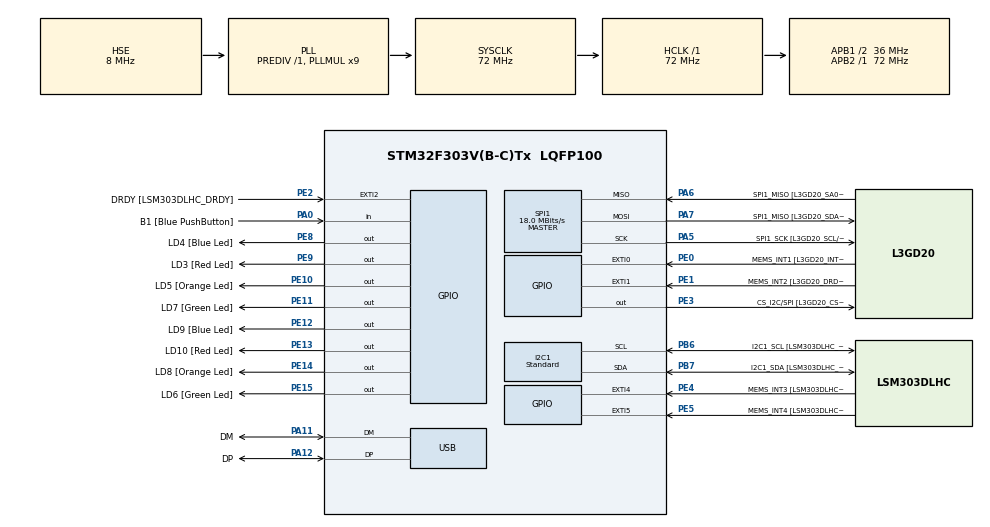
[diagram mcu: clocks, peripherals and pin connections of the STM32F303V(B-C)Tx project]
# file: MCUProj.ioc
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FREERTOS.Tasks01=defaultTask,0,128,StartDefaultTask,Default,NULL,Dynamic,NULL,NULL
I2C1.I2C_Speed_Mode=I2C_Standard
I2C1.Timing-I2C=0x2000090E
Mcu.Family=STM32F3
Mcu.Name=STM32F303V(B-C)Tx
Mcu.Package=LQFP100
NVIC.EXTI2_TSC_IRQn=true\:5\:0\:false\:false\:true\:true\:true\:true\:true
NVIC.I2C1_ER_IRQn=true\:5\:0\:false\:false\:true\:true\:true\:true\:true
NVIC.I2C1_EV_IRQn=true\:5\:0\:false\:false\:true\:true\:true\:true\:true
NVIC.PriorityGroup=NVIC_PRIORITYGROUP_4
NVIC.TIM1_TRG_COM_TIM17_IRQn=true\:15\:0\:false\:false\:true\:false\:false\:true\:true
NVIC.TIM1_UP_TIM16_IRQn=true\:5\:0\:false\:false\:true\:true\:true\:true\:true
NVIC.TimeBase=TIM1_TRG_COM_TIM17_IRQn
NVIC.TimeBaseIP=TIM17
NVIC.USB_LP_CAN_RX0_IRQn=true\:5\:0\:false\:false\:true\:true\:false\:true\:true
PA0.GPIO_Label=B1 [Blue PushButton]
PA0.Signal=GPIO_Input
PA11.GPIO_Label=DM
PA11.Mode=Device
PA11.Signal=USB_DM
PA12.GPIO_Label=DP
PA12.Mode=Device
PA12.Signal=USB_DP
PA13.GPIO_Label=SWDIO
PA13.Mode=Serial_Wire
PA13.Signal=SYS_JTMS-SWDIO
PA14.GPIO_Label=SWCLK
PA14.Mode=Serial_Wire
PA14.Signal=SYS_JTCK-SWCLK
PA5.GPIO_Label=SPI1_SCK [L3GD20_SCL/SPC]
PA5.Mode=Full_Duplex_Master
PA5.Signal=SPI1_SCK
PA6.GPIO_Label=SPI1_MISO [L3GD20_SA0/SDO]
PA6.Mode=Full_Duplex_Master
PA6.Signal=SPI1_MISO
PA7.GPIO_Label=SPI1_MISO [L3GD20_SDA/SDI/SDO]
PA7.Mode=Full_Duplex_Master
PA7.Signal=SPI1_MOSI
PB3.GPIO_Label=SWO
PB3.Signal=SYS_JTDO-TRACESWO
PB6.GPIO_Label=I2C1_SCL [LSM303DLHC_SCL]
PB6.GPIO_Pu=GPIO_PULLUP
PB6.Mode=I2C
PB6.Signal=I2C1_SCL
PB7.GPIO_Label=I2C1_SDA [LSM303DLHC_SDA]
PB7.GPIO_Pu=GPIO_PULLUP
PB7.Mode=I2C
PB7.Signal=I2C1_SDA
PC14-OSC32_IN.GPIO_Label=OSC32_IN
PC14-OSC32_IN.Signal=RCC_OSC32_IN
PC15-OSC32_OUT.GPIO_Label=OSC32_OUT
PC15-OSC32_OUT.Signal=RCC_OSC32_OUT
PE0.GPIO_Label=MEMS_INT1 [L3GD20_INT1]
PE0.GPIO_ModeDefaultEXTI=GPIO_MODE_EVT_RISING
PE0.Signal=GPXTI0
PE1.GPIO_Label=MEMS_INT2 [L3GD20_DRDY/INT2]
PE1.GPIO_ModeDefaultEXTI=GPIO_MODE_EVT_RISING
PE1.Signal=GPXTI1
PE10.GPIO_Label=LD5 [Orange Led]
PE10.Signal=GPIO_Output
PE11.GPIO_Label=LD7 [Green Led]
PE11.Signal=GPIO_Output
PE12.GPIO_Label=LD9 [Blue Led]
PE12.Signal=GPIO_Output
PE13.GPIO_Label=LD10 [Red Led]
PE13.Signal=GPIO_Output
PE14.GPIO_Label=LD8 [Orange Led]
PE14.Signal=GPIO_Output
PE15.GPIO_Label=LD6 [Green Led]
PE15.Signal=GPIO_Output
PE2.GPIO_Label=DRDY [LSM303DLHC_DRDY]
PE2.GPIO_ModeDefaultEXTI=GPIO_MODE_IT_RISING
PE2.Signal=GPXTI2
PE3.GPIO_Label=CS_I2C/SPI [L3GD20_CS_I2C/SPI]
PE3.Signal=GPIO_Output
PE4.GPIO_Label=MEMS_INT3 [LSM303DLHC_INT1]
PE4.GPIO_ModeDefaultEXTI=GPIO_MODE_EVT_RISING
PE4.Signal=GPXTI4
PE5.GPIO_Label=MEMS_INT4 [LSM303DLHC_INT2]
PE5.GPIO_ModeDefaultEXTI=GPIO_MODE_EVT_RISING
PE5.Signal=GPXTI5
PE8.GPIO_Label=LD4 [Blue Led]
PE8.Signal=GPIO_Output
PE9.GPIO_Label=LD3 [Red Led]
PE9.Signal=GPIO_Output
PF0-OSC_IN.GPIO_Label=OSC_IN
PF0-OSC_IN.Mode=HSE-External-Clock-Source
PF0-OSC_IN.Signal=RCC_OSC_IN
PF1-OSC_OUT.GPIO_Label=OSC_OUT
PF1-OSC_OUT.Signal=RCC_OSC_OUT
ProjectManager.HeapSize=0x200
ProjectManager.StackSize=0x400
ProjectManager.TargetToolchain=Makefile
RCC.AHBFreq_Value=72000000
RCC.APB1CLKDivider=RCC_HCLK_DIV2
RCC.APB1Freq_Value=36000000
RCC.APB1TimFreq_Value=72000000
RCC.APB2Freq_Value=72000000
RCC.APB2TimFreq_Value=72000000
RCC.CortexFreq_Value=72000000
RCC.HCLKFreq_Value=72000000
RCC.HSE_VALUE=8000000
RCC.HSI_VALUE=8000000
RCC.LSE_VALUE=32768
RCC.PLLMUL=RCC_PLL_MUL9
RCC.PRESCALERUSB=RCC_USBCLKSOURCE_PLL_DIV1_5
RCC.SYSCLKFreq_VALUE=72000000
RCC.SYSCLKSourceVirtual=RCC_SYSCLKSOURCE_PLLCLK
RCC.USBFreq_Value=48000000
SPI1.BaudRatePrescaler=SPI_BAUDRATEPRESCALER_4
SPI1.BaudRatePrescaler-Full_Duplex_Master=SPI_BAUDRATEPRESCALER_2
SPI1.CalculateBaudRate=18.0 MBits/s
SPI1.CalculateBaudRate-Full_Duplex_Master=24.0 MBits/s
SPI1.Direction=SPI_DIRECTION_2LINES
SPI1.Mode=SPI_MODE_MASTER
SPI1.Mode-Full_Duplex_Master=SPI_MODE_MASTER
SPI1.VirtualType=VM_MASTER
TIM16.Period=65535 - 1
TIM16.Prescaler=1000
USB_DEVICE.APP_RX_DATA_SIZE=512
USB_DEVICE.APP_TX_DATA_SIZE=512
USB_DEVICE.CLASS_NAME_FS=CDC
USB_DEVICE.VirtualMode=Cdc
USB_DEVICE.VirtualModeFS=Cdc_FS
VP_FREERTOS_VS_CMSIS_V1.Mode=CMSIS_V1
VP_SYS_VS_tim17.Mode=TIM17
VP_TIM16_VS_ClockSourceINT.Mode=Enable_Timer
VP_USB_DEVICE_VS_USB_DEVICE_CDC_FS.Mode=CDC_FS
board=STM32F3DISCOVERY

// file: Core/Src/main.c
/* USER CODE BEGIN Header */
/**
  ******************************************************************************
  * @file           : main.c
  * @brief          : Main program body
  ******************************************************************************
  * @attention
  *
  * Copyright (c) 2023 STMicroelectronics.
  * All rights reserved.
  *
  * This software is licensed under terms that can be found in the LICENSE file
  * in the root directory of this software component.
  * If no LICENSE file comes with this software, it is provided AS-IS.
  *
  ******************************************************************************
  */
/* USER CODE END Header */
#include "main.h"
#include "cmsis_os.h"
#include "usb_device.h"

/* USER CODE BEGIN Includes */
#include <stdbool.h>
#include <math.h>
#include "modbus_srv.h"
/* USER CODE END Includes */

/* USER CODE BEGIN PD */
#define CONCAT_8BIT_INTO_16BIT(high_byte, low_byte)  (((high_byte) << 8U) | low_byte)
#define MAX(a, b)                                   ((a) = (b) > (a) ? (a):(a))
#define MIN(a, b)                                   ((a) = (b) < (a) ? (b):(a))

#define MAGN_VALUE_TO_PERSENT(val) ((0xffff - (val)) / 10)
/* USER CODE END PD */

I2C_HandleTypeDef hi2c1;

SPI_HandleTypeDef hspi1;

TIM_HandleTypeDef htim16;

osThreadId defaultTaskHandle;
/* USER CODE BEGIN PV */

uint8_t buf[20];
static led_pwm_desc_t g_led_states[] =
{
  {
    .GPIOx = LD3_GPIO_Port,
    .GPIO_Pin = LD3_Pin,
    .PinState = GPIO_PIN_RESET,
    .duty_cycle_percent = 0
  },
  {
    .GPIOx = LD4_GPIO_Port,
    .GPIO_Pin = LD4_Pin,
    .PinState = GPIO_PIN_RESET,
    .duty_cycle_percent = 0
  },
  {
    .GPIOx = LD5_GPIO_Port,
    .GPIO_Pin = LD5_Pin,
    .PinState = GPIO_PIN_RESET,
    .duty_cycle_percent = 0
  },
  {
    .GPIOx = LD6_GPIO_Port,
    .GPIO_Pin = LD6_Pin,
    .PinState = GPIO_PIN_RESET,
    .duty_cycle_percent = 0
  },
  {
    .GPIOx = LD7_GPIO_Port,
    .GPIO_Pin = LD7_Pin,
    .PinState = GPIO_PIN_RESET,
    .duty_cycle_percent = 0
  },
  {
    .GPIOx = LD8_GPIO_Port,
    .GPIO_Pin = LD8_Pin,
    .PinState = GPIO_PIN_RESET,
    .duty_cycle_percent = 0
  },
  {
    .GPIOx = LD9_GPIO_Port,
    .GPIO_Pin = LD9_Pin,
    .PinState = GPIO_PIN_RESET,
    .duty_cycle_percent = 0
  },
  {
    .GPIOx = LD10_GPIO_Port,
    .GPIO_Pin = LD10_Pin,
    .PinState = GPIO_PIN_RESET,
    .duty_cycle_percent = 0
  }
};

static uint8_t g_reading_steps[] =
{
  I2C_ADDR_OUTX_L_REG_M,
  I2C_ADDR_OUTX_H_REG_M,
  I2C_ADDR_OUTY_L_REG_M,
  I2C_ADDR_OUTY_H_REG_M,
  I2C_ADDR_OUTZ_L_REG_M,
  I2C_ADDR_OUTZ_H_REG_M
};

static uint8_t g_offsets[] =
{
  I2C_ADDR_OFFSET_X_REG_L_M,
  I2C_ADDR_OFFSET_X_REG_H_M,
  I2C_ADDR_OFFSET_Y_REG_L_M,
  I2C_ADDR_OFFSET_Y_REG_H_M,
  I2C_ADDR_OFFSET_Z_REG_L_M,
  I2C_ADDR_OFFSET_Z_REG_H_M
};

/* USER CODE END PV */

void SystemClock_Config(void);
static void MX_GPIO_Init(void);
static void MX_I2C1_Init(void);
static void MX_SPI1_Init(void);
static void MX_TIM16_Init(void);
void StartDefaultTask(void const * argument);

/* USER CODE BEGIN 0 */
// bool tx_completed = false;
// bool rx_complete = false;
void HAL_I2C_MasterTxCpltCallback(I2C_HandleTypeDef *hi2c)
{
}

void HAL_I2C_MasterRxCpltCallback(I2C_HandleTypeDef *hi2c)
{
  buf[10] = 0;
}

// void HAL_TIM_PeriodElapsedCallback(TIM_HandleTypeDef *htim)
// {
//   static uint16_t current_ctr = 0;
//   static uint8_t led_idx;
//   static bool reset_state = false;

//   if (htim == &htim16)
//   {
//     reset_state = true;
//     current_ctr = 0;

//     data_ready_interrupt();

//     for (led_idx = 0; reset_state && led_idx < LED_CNT; led_idx++)
//     {
//       if (g_led_states[led_idx].duty_cycle_percent != 0U)
//       {
//         HAL_GPIO_WritePin(g_led_states[led_idx].GPIOx, g_led_states[led_idx].GPIO_Pin, GPIO_PIN_SET);
//       }
//     }

//     for (led_idx = 0; led_idx < LED_CNT; led_idx++)
//     {
//       if (g_led_states[led_idx].duty_cycle_percent == 0)
//       {
//         HAL_GPIO_WritePin(g_led_states[led_idx].GPIOx, g_led_states[led_idx].GPIO_Pin, GPIO_PIN_RESET);
//       }
//     }
//   }
// }

void mb_init(void)
{
  HAL_StatusTypeDef status;
  uint8_t value = 0;

  status = HAL_I2C_Mem_Read(&hi2c1, I2C_ADDR_READ_MAGNETOMETER, I2C_ADDR_WHOAMI, I2C_MEMADD_SIZE_8BIT, &value, 1, HAL_MAX_DELAY);

  if (status != HAL_OK || value != I2C_RESULT_WHOAMI)
  {
    Error_Handler();
  }

  HAL_Delay(100);

  value = 0x8CU;
  status = HAL_I2C_Mem_Write(&hi2c1, I2C_ADDR_READ_MAGNETOMETER,
                              0x60U, I2C_MEMADD_SIZE_8BIT,
                              &value, 1, HAL_MAX_DELAY);

  if (status != HAL_OK)
  {
    Error_Handler();
  }

  value = 0x02;
  status = HAL_I2C_Mem_Write(&hi2c1, I2C_ADDR_READ_MAGNETOMETER,
                              0x61U, I2C_MEMADD_SIZE_8BIT,
                              &value, 1, HAL_MAX_DELAY);

  if (status != HAL_OK)
  {
    Error_Handler();
  }

  value = 0x10;
  status = HAL_I2C_Mem_Write(&hi2c1, I2C_ADDR_READ_MAGNETOMETER,
                              0x62U, I2C_MEMADD_SIZE_8BIT,
                              &value, 1, HAL_MAX_DELAY);

  if (status != HAL_OK)
  {
    Error_Handler();
  }

  HAL_Delay(20);

  HAL_GPIO_WritePin(g_led_states[7].GPIOx, g_led_states[7].GPIO_Pin, GPIO_PIN_SET);

  // mb_toggle_pin(LD4_GPIO_Port, LD4_Pin, value);

  // /* IRA_REG_M */
  // HAL_I2C_Mem_Read(&hi2c1, I2C_ADDR_READ_ACCELEROMETER, I2C_ADDR_OUT_X_H_A, I2C_MEMADD_SIZE_8BIT, &value, 1, HAL_MAX_DELAY);

  // mb_toggle_pin(LD3_GPIO_Port, LD3_Pin, value);

  // /* IRA_REG_M */
  // HAL_I2C_Mem_Read(&hi2c1, I2C_ADDR_READ_ACCELEROMETER, I2C_ADDR_OUT_Y_L_A, I2C_MEMADD_SIZE_8BIT, &value, 1, HAL_MAX_DELAY);

  // mb_toggle_pin(LD5_GPIO_Port, LD5_Pin, value);

  // /* IRA_REG_M */
  // HAL_I2C_Mem_Read(&hi2c1, I2C_ADDR_READ_ACCELEROMETER, I2C_ADDR_OUT_Y_H_A, I2C_MEMADD_SIZE_8BIT, &value, 1, HAL_MAX_DELAY);

  // mb_toggle_pin(LD6_GPIO_Port, LD6_Pin, value);

  // /* IRA_REG_M */
  // HAL_I2C_Mem_Read(&hi2c1, I2C_ADDR_READ_ACCELEROMETER, I2C_ADDR_OUT_Z_L_A, I2C_MEMADD_SIZE_8BIT, &value, 1, HAL_MAX_DELAY);

  // mb_toggle_pin(LD7_GPIO_Port, LD7_Pin, value);

  // /* IRA_REG_M */
  // HAL_I2C_Mem_Read(&hi2c1, I2C_ADDR_READ_ACCELEROMETER, I2C_ADDR_OUT_Z_H_A, I2C_MEMADD_SIZE_8BIT, &value, 1, HAL_MAX_DELAY);

  // mb_toggle_pin(LD8_GPIO_Port, LD8_Pin, value);
}

#ifdef SELF_TEST_MODE

static uint8_t axis_values[6];

void read_all_regs(void)
{
  uint8_t axis_idx;
  HAL_StatusTypeDef status;
  uint8_t value;

  for (axis_idx = 0; axis_idx < sizeof(g_reading_steps)/sizeof(*g_reading_steps); axis_idx++)
  {
    status = HAL_I2C_Mem_Read(&hi2c1, 0x3C,
                              g_reading_steps[axis_idx], I2C_MEMADD_SIZE_8BIT,
                              &axis_values[axis_idx], 1, HAL_MAX_DELAY);
  }
}

void self_test(void)
{
  uint8_t value;
  HAL_StatusTypeDef status;
  uint8_t idx;
  uint8_t axis_idx;
  uint16_t x_axis[50], y_axis[50], z_axis[50];
  uint16_t st_x_axis[50], st_y_axis[50], st_z_axis[50];
  uint32_t no_st[3] = {0, 0, 0}, st[3] = {0, 0, 0};
  uint16_t st_min[3] = {0xFFFF, 0xFFFF, 0xFFFF}, st_max[3] = {0, 0, 0};

  memset(axis_values, 0, sizeof(axis_values));

  value = 0x8CU;
  status = HAL_I2C_Mem_Write(&hi2c1, I2C_ADDR_READ_MAGNETOMETER,
                              0x60U, I2C_MEMADD_SIZE_8BIT,
                              &value, 1, HAL_MAX_DELAY);

  if (status != HAL_OK)
  {
    Error_Handler();
  }

  value = 0x02;
  status = HAL_I2C_Mem_Write(&hi2c1, I2C_ADDR_READ_MAGNETOMETER,
                              0x61U, I2C_MEMADD_SIZE_8BIT,
                              &value, 1, HAL_MAX_DELAY);

  if (status != HAL_OK)
  {
    Error_Handler();
  }

  value = 0x10;
  status = HAL_I2C_Mem_Write(&hi2c1, I2C_ADDR_READ_MAGNETOMETER,
                              0x62U, I2C_MEMADD_SIZE_8BIT,
                              &value, 1, HAL_MAX_DELAY);

  if (status != HAL_OK)
  {
    Error_Handler();
  }

  HAL_Delay(20);

  // Second block

  while(1)
  {
    status = HAL_I2C_Mem_Read(&hi2c1, I2C_ADDR_READ_MAGNETOMETER,
                              0x67U, I2C_MEMADD_SIZE_8BIT,
                              &value, 1, HAL_MAX_DELAY);
    if (value & 0b1000)
    {
      read_all_regs();
      break;
    }
  }

  for (idx = 0; idx < 50; idx++)
  {
    status = HAL_I2C_Mem_Read(&hi2c1, I2C_ADDR_READ_MAGNETOMETER,
                            0x67U, I2C_MEMADD_SIZE_8BIT,
                            &value, 1, HAL_MAX_DELAY);

    if (value & 0b1000)
    {
      read_all_regs();

      x_axis[axis_idx] = CONCAT_8BIT_INTO_16BIT(axis_values[1], axis_values[0]);
      y_axis[axis_idx] = CONCAT_8BIT_INTO_16BIT(axis_values[3], axis_values[2]);
      z_axis[axis_idx] = CONCAT_8BIT_INTO_16BIT(axis_values[5], axis_values[4]);

      axis_idx++;
    }

    // HAL_Delay(5);
  }

  value = 0x12;
  status = HAL_I2C_Mem_Write(&hi2c1, I2C_ADDR_READ_MAGNETOMETER,
                              0x62U, I2C_MEMADD_SIZE_8BIT,
                              &value, 1, HAL_MAX_DELAY);

  HAL_Delay(60);

  while(1)
  {
    status = HAL_I2C_Mem_Read(&hi2c1, I2C_ADDR_READ_MAGNETOMETER,
                              0x67U, I2C_MEMADD_SIZE_8BIT,
                              &value, 1, HAL_MAX_DELAY);
    if (value & 0b1000)
    {
      read_all_regs();
      break;
    }
  }

  for (idx = 0; idx < 50; idx++)
  {
    status = HAL_I2C_Mem_Read(&hi2c1, I2C_ADDR_READ_MAGNETOMETER,
                            0x67U, I2C_MEMADD_SIZE_8BIT,
                            &value, 1, HAL_MAX_DELAY);

    if (value & 0b1000)
    {
      read_all_regs();

      st_x_axis[axis_idx] = CONCAT_8BIT_INTO_16BIT(axis_values[1], axis_values[0]);
      st_y_axis[axis_idx] = CONCAT_8BIT_INTO_16BIT(axis_values[3], axis_values[2]);
      st_z_axis[axis_idx] = CONCAT_8BIT_INTO_16BIT(axis_values[5], axis_values[4]);

      axis_idx++;
    }

    // HAL_Delay(5);
  }

  for (idx = 0; idx < 50; idx++)
  {
    st_max[0] = fmaxf(st_max[0], st_x_axis[idx]);
    st_min[0] = fminf(st_min[0], st_x_axis[idx]);

    st_max[1] = fmaxf(st_max[1], st_y_axis[idx]);
    st_min[1] = fminf(st_min[1], st_y_axis[idx]);

    st_max[2] = fmaxf(st_max[2], st_z_axis[idx]);
    st_min[2] = fminf(st_min[2], st_z_axis[idx]);

    st[0] += st_x_axis[idx];
    st[1] += st_y_axis[idx];
    st[2] += st_z_axis[idx];

    no_st[0] += x_axis[idx];
    no_st[1] += y_axis[idx];
    no_st[2] += z_axis[idx];
  }

  status = HAL_OK;
  for (axis_idx = 0; axis_idx < 3; axis_idx++)
  {
    st[axis_idx] /= 50;
    no_st[axis_idx] /= 50;

    if (st_min[axis_idx] <= abs(st[axis_idx] - no_st[axis_idx])
        && abs(st[axis_idx] - no_st[axis_idx]) <= st_max[axis_idx])
    {
      HAL_GPIO_WritePin(g_led_states[2].GPIOx, g_led_states[2].GPIO_Pin, GPIO_PIN_SET);
      HAL_GPIO_WritePin(g_led_states[3].GPIOx, g_led_states[3].GPIO_Pin, GPIO_PIN_SET);
      HAL_GPIO_WritePin(g_led_states[4].GPIOx, g_led_states[4].GPIO_Pin, GPIO_PIN_SET);
    }
    else
    {
      HAL_GPIO_WritePin(g_led_states[5].GPIOx, g_led_states[5].GPIO_Pin, GPIO_PIN_SET);
      HAL_GPIO_WritePin(g_led_states[6].GPIOx, g_led_states[6].GPIO_Pin, GPIO_PIN_SET);
    }
  }

  value = 0x10;
  status = HAL_I2C_Mem_Write(&hi2c1, I2C_ADDR_READ_MAGNETOMETER,
                              0x62U, I2C_MEMADD_SIZE_8BIT,
                              &value, 1, HAL_MAX_DELAY);

  value = 0x83;
  status = HAL_I2C_Mem_Write(&hi2c1, I2C_ADDR_READ_MAGNETOMETER,
                              0x62U, I2C_MEMADD_SIZE_8BIT,
                              &value, 1, HAL_MAX_DELAY);
}

#endif /* SELF_TEST_MODE */

void data_ready_interrupt(void)
{
  HAL_StatusTypeDef status;
  static uint8_t result[sizeof(g_reading_steps) / sizeof(*g_reading_steps)] = {0};
  static uint16_t min[3] = {0xffff, 0xffff, 0xffff};
  static uint16_t max[3] = {0};
  int32_t result_32[3];
  uint8_t status_reg = 0;
  static uint16_t res_16_bit[3]; // x,y,z
  uint8_t axis_idx;
  // uint16_t x_percent,y_percent;
  double angle;

  static uint8_t curr_poll = 0;

  uint8_t led_idx;

  status = HAL_I2C_Mem_Read(&hi2c1, 0x3C,
                            I2C_ADDR_STATUS_REG_M, I2C_MEMADD_SIZE_8BIT,
                            &status_reg, 1, HAL_MAX_DELAY);

  if (!(status_reg & 0b1000))
  {
    return;
  }

  for (axis_idx = 0; axis_idx < sizeof(g_reading_steps)/sizeof(*g_reading_steps); axis_idx++)
  {
    status = HAL_I2C_Mem_Read(&hi2c1, 0x3C,
                              g_reading_steps[curr_poll], I2C_MEMADD_SIZE_8BIT,
                              result + axis_idx, 1, HAL_MAX_DELAY);

    if (status != HAL_OK)
    {
      break;
    }

    curr_poll++;
  }

  if (status != HAL_OK)
  {
    Error_Handler();
  }

  // g_led_states[1].duty_cycle_percent = 100;
  // g_led_states[2].duty_cycle_percent = 100;
  // g_led_states[3].duty_cycle_percent = 100;

  if (curr_poll == sizeof(g_reading_steps) / sizeof(*g_reading_steps))
  {
    curr_poll = 0;

    res_16_bit[0] = CONCAT_8BIT_INTO_16BIT(result[1], result[0]);
    res_16_bit[1] = CONCAT_8BIT_INTO_16BIT(result[3], result[2]);
    res_16_bit[2] = CONCAT_8BIT_INTO_16BIT(result[5], result[4]);

    for (axis_idx = 0; axis_idx < 3; axis_idx++)
    {
      min[axis_idx] = fminf(res_16_bit[axis_idx], min[axis_idx]);
      max[axis_idx] = fmaxf(res_16_bit[axis_idx], max[axis_idx]);

      result_32[axis_idx] = res_16_bit[axis_idx] - (0xffff) / 2;
    }

    // x_percent = MAGN_VALUE_TO_PERSENT(res_16_bit[0]);
    // y_percent = MAGN_VALUE_TO_PERSENT(res_16_bit[1]);

    for(led_idx = 0; led_idx < LED_CNT; led_idx++)
    {
      g_led_states[led_idx].duty_cycle_percent = 0U;
    }

    angle = (int) (atan2(result_32[0], result_32[1]) * (180 / M_PI) + 180);

    static float mn = 1000, mx = 0;

    mn = fminf(mn, angle);
    mx = fmaxf(mx, angle);

    if (angle >= 315 || (angle >= 0 && angle < 45))
    {
      g_led_states[0].duty_cycle_percent = 100;
    }
// 0 2 4 6 7 5 3 1
    if (angle >= 0 && angle < 90)
    {
      g_led_states[2].duty_cycle_percent = 100;
    }

    if (angle >= 45 && angle < 135)
    {
      g_led_states[4].duty_cycle_percent = 100;
    }

    if (angle >= 90 && angle < 180)
    {
      g_led_states[6].duty_cycle_percent = 100;
    }

    if (angle >= 135 && angle < 225)
    {
      g_led_states[7].duty_cycle_percent = 100;
    }

    if (angle >= 180 && angle < 270)
    {
      g_led_states[5].duty_cycle_percent = 100;
    }

    if (angle >= 225 && angle < 315)
    {
      g_led_states[3].duty_cycle_percent = 100;
    }

    if (angle >= 270 && angle < 360)
    {
      g_led_states[1].duty_cycle_percent = 100;
    }
  }

};

void HAL_GPIO_EXTI_Callback(uint16_t GPIO_Pin)
{
  // uint8_t led_idx = 0;
  // bool reset_state = true;
  // uint8_t ret;

  if (GPIO_Pin == DRDY_Pin)
  {
    // data_ready_interrupt();

    // for (led_idx = 0; reset_state && led_idx < LED_CNT; led_idx++)
    // {
    //   if (g_led_states[led_idx].duty_cycle_percent != 0U)
    //   {
    //     HAL_GPIO_WritePin(g_led_states[led_idx].GPIOx, g_led_states[led_idx].GPIO_Pin, GPIO_PIN_SET);
    //   }
    // }

    // for (led_idx = 0; led_idx < LED_CNT; led_idx++)
    // {
    //   if (g_led_states[led_idx].duty_cycle_percent == 0)
    //   {
    //     HAL_GPIO_WritePin(g_led_states[led_idx].GPIOx, g_led_states[led_idx].GPIO_Pin, GPIO_PIN_RESET);
    //   }
    // }

    // HAL_I2C_Mem_Read(&hi2c1, 0x3C,
    //                 0x64, I2C_MEMADD_SIZE_8BIT,
    //                 ret, 1, HAL_MAX_DELAY);
  }

  // HAL_NVIC_ClearPendingIRQ(EXTI2_TSC_IRQn);
}

/* USER CODE END 0 */

int main(void)
{

  /* MCU Configuration--------------------------------------------------------*/

  /* Reset of all peripherals, Initializes the Flash interface and the Systick. */
  HAL_Init();

  /* Configure the system clock */
  SystemClock_Config();

  /* Initialize all configured peripherals */
  MX_GPIO_Init();
  MX_I2C1_Init();
  MX_SPI1_Init();
  MX_TIM16_Init();
  /* USER CODE BEGIN 2 */

  mb_init();

  /* Enable interrupt for DRDY */
  // HAL_NVIC_SetPriority(EXTI2_TSC_IRQn, 0x00, 0x00);
  // HAL_NVIC_EnableIRQ(EXTI2_TSC_IRQn);

  HAL_TIM_Base_Start_IT(&htim16);

  /* USER CODE END 2 */

  /* Create the thread(s) */
  /* definition and creation of defaultTask */
  osThreadDef(defaultTask, StartDefaultTask, osPriorityNormal, 0, 128);
  defaultTaskHandle = osThreadCreate(osThread(defaultTask), NULL);

  /* Start scheduler */
  osKernelStart();
  /* We should never get here as control is now taken by the scheduler */
  /* Infinite loop */
  /* USER CODE BEGIN WHILE */
  while (1)
  {
    // mb_init();

    // HAL_Delay(100);
    // if (HAL_GPIO_ReadPin(DRDY_GPIO_Port, DRDY_Pin) == GPIO_PIN_SET)
    // {
    //   HAL_GPIO_WritePin(LD3_GPIO_Port, LD3_Pin, GPIO_PIN_SET);
    //   HAL_GPIO_WritePin(LD4_GPIO_Port, LD4_Pin, GPIO_PIN_RESET);
    // }
    // else
    // {
    //   HAL_GPIO_WritePin(LD4_GPIO_Port, LD4_Pin, GPIO_PIN_SET);
    //   HAL_GPIO_WritePin(LD3_GPIO_Port, LD3_Pin, GPIO_PIN_RESET);
    // }

      // data_ready_interrupt();
    /* USER CODE END WHILE */

  }
}

void SystemClock_Config(void)
{
  RCC_OscInitTypeDef RCC_OscInitStruct = {0};
  RCC_ClkInitTypeDef RCC_ClkInitStruct = {0};
  RCC_PeriphCLKInitTypeDef PeriphClkInit = {0};

  /** Initializes the RCC Oscillators according to the specified parameters
  * in the RCC_OscInitTypeDef structure.
  */
  RCC_OscInitStruct.OscillatorType = RCC_OSCILLATORTYPE_HSI|RCC_OSCILLATORTYPE_HSE;
  RCC_OscInitStruct.HSEState = RCC_HSE_BYPASS;
  RCC_OscInitStruct.HSEPredivValue = RCC_HSE_PREDIV_DIV1;
  RCC_OscInitStruct.HSIState = RCC_HSI_ON;
  RCC_OscInitStruct.HSICalibrationValue = RCC_HSICALIBRATION_DEFAULT;
  RCC_OscInitStruct.PLL.PLLState = RCC_PLL_ON;
  RCC_OscInitStruct.PLL.PLLSource = RCC_PLLSOURCE_HSE;
  RCC_OscInitStruct.PLL.PLLMUL = RCC_PLL_MUL9;
  if (HAL_RCC_OscConfig(&RCC_OscInitStruct) != HAL_OK)
  {
    Error_Handler();
  }

  /** Initializes the CPU, AHB and APB buses clocks
  */
  RCC_ClkInitStruct.ClockType = RCC_CLOCKTYPE_HCLK|RCC_CLOCKTYPE_SYSCLK
                              |RCC_CLOCKTYPE_PCLK1|RCC_CLOCKTYPE_PCLK2;
  RCC_ClkInitStruct.SYSCLKSource = RCC_SYSCLKSOURCE_PLLCLK;
  RCC_ClkInitStruct.AHBCLKDivider = RCC_SYSCLK_DIV1;
  RCC_ClkInitStruct.APB1CLKDivider = RCC_HCLK_DIV2;
  RCC_ClkInitStruct.APB2CLKDivider = RCC_HCLK_DIV1;

  if (HAL_RCC_ClockConfig(&RCC_ClkInitStruct, FLASH_LATENCY_2) != HAL_OK)
  {
    Error_Handler();
  }
  PeriphClkInit.PeriphClockSelection = RCC_PERIPHCLK_USB|RCC_PERIPHCLK_I2C1;
  PeriphClkInit.I2c1ClockSelection = RCC_I2C1CLKSOURCE_HSI;
  PeriphClkInit.USBClockSelection = RCC_USBCLKSOURCE_PLL_DIV1_5;
  if (HAL_RCCEx_PeriphCLKConfig(&PeriphClkInit) != HAL_OK)
  {
    Error_Handler();
  }
}

static void MX_I2C1_Init(void)
{

  hi2c1.Instance = I2C1;
  hi2c1.Init.Timing = 0x2000090E;
  hi2c1.Init.OwnAddress1 = 0;
  hi2c1.Init.AddressingMode = I2C_ADDRESSINGMODE_7BIT;
  hi2c1.Init.DualAddressMode = I2C_DUALADDRESS_DISABLE;
  hi2c1.Init.OwnAddress2 = 0;
  hi2c1.Init.OwnAddress2Masks = I2C_OA2_NOMASK;
  hi2c1.Init.GeneralCallMode = I2C_GENERALCALL_DISABLE;
  hi2c1.Init.NoStretchMode = I2C_NOSTRETCH_DISABLE;
  if (HAL_I2C_Init(&hi2c1) != HAL_OK)
  {
    Error_Handler();
  }

  /** Configure Analogue filter
  */
  if (HAL_I2CEx_ConfigAnalogFilter(&hi2c1, I2C_ANALOGFILTER_ENABLE) != HAL_OK)
  {
    Error_Handler();
  }

  /** Configure Digital filter
  */
  if (HAL_I2CEx_ConfigDigitalFilter(&hi2c1, 0) != HAL_OK)
  {
    Error_Handler();
  }

}

static void MX_SPI1_Init(void)
{

  /* SPI1 parameter configuration*/
  hspi1.Instance = SPI1;
  hspi1.Init.Mode = SPI_MODE_MASTER;
  hspi1.Init.Direction = SPI_DIRECTION_2LINES;
  hspi1.Init.DataSize = SPI_DATASIZE_4BIT;
  hspi1.Init.CLKPolarity = SPI_POLARITY_LOW;
  hspi1.Init.CLKPhase = SPI_PHASE_1EDGE;
  hspi1.Init.NSS = SPI_NSS_SOFT;
  hspi1.Init.BaudRatePrescaler = SPI_BAUDRATEPRESCALER_4;
  hspi1.Init.FirstBit = SPI_FIRSTBIT_MSB;
  hspi1.Init.TIMode = SPI_TIMODE_DISABLE;
  hspi1.Init.CRCCalculation = SPI_CRCCALCULATION_DISABLE;
  hspi1.Init.CRCPolynomial = 7;
  hspi1.Init.CRCLength = SPI_CRC_LENGTH_DATASIZE;
  hspi1.Init.NSSPMode = SPI_NSS_PULSE_ENABLE;
  if (HAL_SPI_Init(&hspi1) != HAL_OK)
  {
    Error_Handler();
  }

}

static void MX_TIM16_Init(void)
{

  htim16.Instance = TIM16;
  htim16.Init.Prescaler = 1000;
  htim16.Init.CounterMode = TIM_COUNTERMODE_UP;
  htim16.Init.Period = 65535 - 1;
  htim16.Init.ClockDivision = TIM_CLOCKDIVISION_DIV1;
  htim16.Init.RepetitionCounter = 0;
  htim16.Init.AutoReloadPreload = TIM_AUTORELOAD_PRELOAD_DISABLE;
  if (HAL_TIM_Base_Init(&htim16) != HAL_OK)
  {
    Error_Handler();
  }

}

static void MX_GPIO_Init(void)
{
  GPIO_InitTypeDef GPIO_InitStruct = {0};

  /* GPIO Ports Clock Enable */
  __HAL_RCC_GPIOE_CLK_ENABLE();
  __HAL_RCC_GPIOC_CLK_ENABLE();
  __HAL_RCC_GPIOF_CLK_ENABLE();
  __HAL_RCC_GPIOA_CLK_ENABLE();
  __HAL_RCC_GPIOB_CLK_ENABLE();

  /*Configure GPIO pin Output Level */
  HAL_GPIO_WritePin(GPIOE, CS_I2C_SPI_Pin|LD4_Pin|LD3_Pin|LD5_Pin
                          |LD7_Pin|LD9_Pin|LD10_Pin|LD8_Pin
                          |LD6_Pin, GPIO_PIN_RESET);

  /*Configure GPIO pin : DRDY_Pin */
  GPIO_InitStruct.Pin = DRDY_Pin;
  GPIO_InitStruct.Mode = GPIO_MODE_IT_RISING;
  GPIO_InitStruct.Pull = GPIO_NOPULL;
  HAL_GPIO_Init(DRDY_GPIO_Port, &GPIO_InitStruct);

  /*Configure GPIO pins : CS_I2C_SPI_Pin LD4_Pin LD3_Pin LD5_Pin
                           LD7_Pin LD9_Pin LD10_Pin LD8_Pin
                           LD6_Pin */
  GPIO_InitStruct.Pin = CS_I2C_SPI_Pin|LD4_Pin|LD3_Pin|LD5_Pin
                          |LD7_Pin|LD9_Pin|LD10_Pin|LD8_Pin
                          |LD6_Pin;
  GPIO_InitStruct.Mode = GPIO_MODE_OUTPUT_PP;
  GPIO_InitStruct.Pull = GPIO_NOPULL;
  GPIO_InitStruct.Speed = GPIO_SPEED_FREQ_LOW;
  HAL_GPIO_Init(GPIOE, &GPIO_InitStruct);

  /*Configure GPIO pins : MEMS_INT3_Pin MEMS_INT4_Pin MEMS_INT1_Pin MEMS_INT2_Pin */
  GPIO_InitStruct.Pin = MEMS_INT3_Pin|MEMS_INT4_Pin|MEMS_INT1_Pin|MEMS_INT2_Pin;
  GPIO_InitStruct.Mode = GPIO_MODE_EVT_RISING;
  GPIO_InitStruct.Pull = GPIO_NOPULL;
  HAL_GPIO_Init(GPIOE, &GPIO_InitStruct);

  /*Configure GPIO pin : B1_Pin */
  GPIO_InitStruct.Pin = B1_Pin;
  GPIO_InitStruct.Mode = GPIO_MODE_INPUT;
  GPIO_InitStruct.Pull = GPIO_NOPULL;
  HAL_GPIO_Init(B1_GPIO_Port, &GPIO_InitStruct);

  /* EXTI interrupt init*/
  HAL_NVIC_SetPriority(EXTI2_TSC_IRQn, 5, 0);
  HAL_NVIC_EnableIRQ(EXTI2_TSC_IRQn);

}

void StartDefaultTask(void const * argument)
{
  /* init code for USB_DEVICE */
  MX_USB_DEVICE_Init();
  /* USER CODE BEGIN 5 */
  modbus_srv_init();
  g_registers.ready = 1;

  /* Infinite loop */
  for(;;)
  {
  }
  /* USER CODE END 5 */
}

void HAL_TIM_PeriodElapsedCallback(TIM_HandleTypeDef *htim)
{
  if (htim->Instance == TIM17) {
    HAL_IncTick();
  }
}

void Error_Handler(void)
{
  __disable_irq();
  while (1)
  {
  }
}
